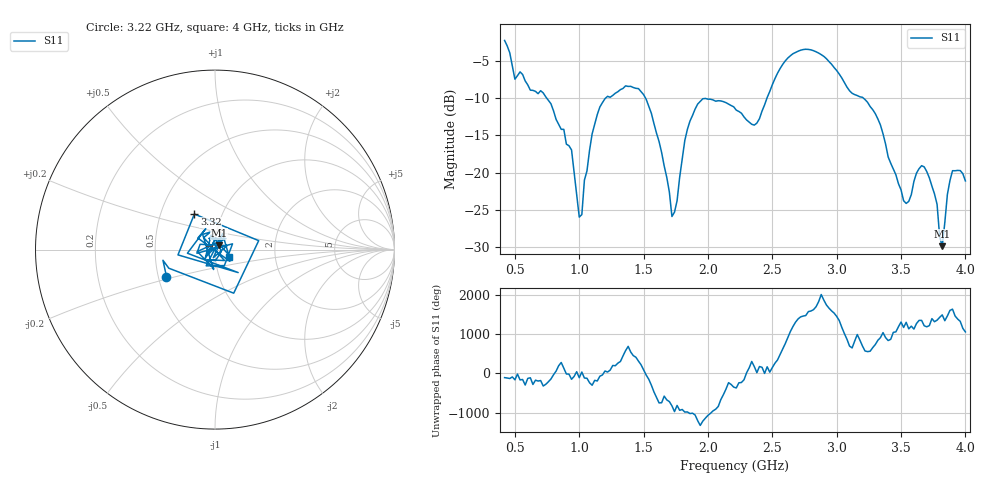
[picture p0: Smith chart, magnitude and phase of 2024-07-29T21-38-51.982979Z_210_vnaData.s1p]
!Created with skrf (http://scikit-rf.org).
# Hz S RI R 50.0
!freq ReS11 ImS11
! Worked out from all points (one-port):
!   180 points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, 420 MHz to 4 GHz, reference 50 ohm
!   lowest |S11| = -29.9 dB at 3.82 GHz (marker M1), VSWR 1.07, Z = 52.2 + j2.43 ohm
!   |S11| at or under -10 dB: 746.6 MHz to 1.205 GHz (458.6 MHz wide, 47 % of centre); 1.515 GHz to 2.459 GHz (943.9 MHz wide, 47.5 % of centre); 3.207 GHz to end of sweep
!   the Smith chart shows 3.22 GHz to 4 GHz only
!   S11 on the Smith chart (normalised r, x): 3.22 GHz: 0.55, -0.18; 3.32 GHz: 0.74, +0.31; 4 GHz: 1.17, -0.09
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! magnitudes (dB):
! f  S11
! 420 MHz  -2.3
! 500 MHz  -7.5
! 720 MHz  -9.3
! 880 MHz  -14.2
! 940 MHz  -17.0
! 1 GHz  -26.0
! 1.14 GHz  -12.2
! 1.32 GHz  -8.9
! 1.52 GHz  -10.2
! 1.64 GHz  -17.3
! 1.72 GHz  -25.9
! 1.78 GHz  -20.6
! 1.84 GHz  -14.2
! 1.92 GHz  -10.8
! 2.22 GHz  -11.6
! 2.38 GHz  -13.4
! 2.66 GHz  -4.0
! 2.9 GHz  -4.4
! 3.12 GHz  -9.4
! 3.22 GHz  -10.2
! 3.32 GHz  -12.8
! 3.56 GHz  -23.9
! 3.68 GHz  -19.2
! 3.78 GHz  -24.3
! 3.82 GHz  -29.9
! 3.86 GHz  -23.0
! 3.9 GHz  -19.8
! 4 GHz  -21.1
